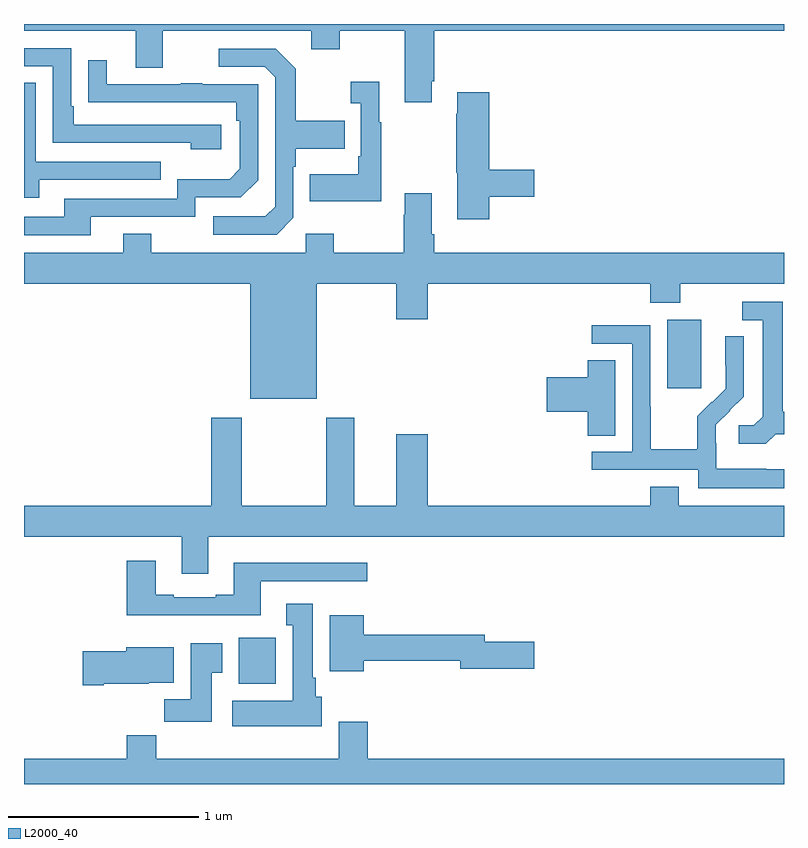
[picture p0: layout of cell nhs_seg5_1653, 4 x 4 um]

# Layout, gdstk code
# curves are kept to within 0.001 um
import gdstk
lib = gdstk.Library(unit=1e-6, precision=1e-09)
def R(c, l, rs):  # rectangles x0, y0, x1, y1
    for r in rs: c.add(gdstk.rectangle(r[:2], r[2:], *l))
def P(c, l, *ps):  # polygons
    for p in ps: c.add(gdstk.Polygon(p, *l))
L2000_40 = (2000, 40)

nhs_seg5_1653 = lib.new_cell('nhs_seg5_1653')
R(nhs_seg5_1653, L2000_40, [(212.129,849.326,212.326,849.568), (214.385,850.881,214.564,851.242)])
P(nhs_seg5_1653, L2000_40, [(213.145,852.499),(213.158,852.499),(213.158,852.764),(215,852.764),(215,852.799),(211,852.799),(211,852.764),(211.589,852.764),(211.589,852.57),(211.729,852.57),(211.729,852.764),(212.513,852.764),(212.513,852.665),(212.661,852.665),(212.661,852.764),(213.005,852.764),(213.005,852.387),(213.145,852.387)],
  [(212.038,852.27),(211.261,852.27),(211.261,852.367),(211.248,852.367),(211.248,852.672),(211,852.672),(211,852.576),(211.152,852.576),(211.152,852.174),(211.877,852.174),(211.877,852.14),(212.038,852.14)],
  [(212.418,851.778),(212.418,852.047),(212.431,852.047),(212.431,852.143),(212.687,852.143),(212.687,852.291),(212.431,852.291),(212.431,852.563),(212.325,852.669),(212.025,852.669),(212.025,852.573),(212.268,852.573),(212.322,852.519),(212.322,851.838),(212.271,851.787),(211.995,851.787),(211.995,851.691),(212.331,851.691)],
  [(211.351,851.784),(211.902,851.784),(211.902,851.886),(212.142,851.886),(212.232,851.976),(212.232,852.483),(211.937,852.483),(211.937,852.488),(211.825,852.488),(211.825,852.483),(211.435,852.483),(211.435,852.607),(211.339,852.607),(211.339,852.388),(212.116,852.387),(212.116,852.29),(212.136,852.29),(212.136,852.036),(212.083,851.983),(211.806,851.983),(211.806,851.88),(211.211,851.88),(211.211,851.784),(211,851.784),(211,851.688),(211.351,851.688)],
  [(212.881,852.283),(212.869,852.283),(212.869,852.496),(212.721,852.496),(212.721,852.383),(212.772,852.383),(212.772,852.103),(212.76,852.103),(212.76,852.007),(212.503,852.007),(212.503,851.867),(212.881,851.867)],
  [(211.081,851.979),(211.721,851.979),(211.721,852.075),(211.062,852.075),(211.062,852.491),(211,852.491),(211,851.885),(211.081,851.885)],
  [(213.449,851.89),(213.685,851.89),(213.685,852.032),(213.449,852.032),(213.449,852.439),(213.281,852.439),(213.281,852.326),(213.274,852.326),(213.274,852.015),(213.281,852.015),(213.281,851.772),(213.449,851.772)],
  [(212.542,851.432),(212.96,851.432),(212.96,851.244),(213.124,851.244),(213.124,851.432),(214.295,851.432),(214.295,851.333),(214.455,851.333),(214.455,851.432),(215,851.432),(215,851.596),(213.158,851.596),(213.158,851.692),(213.145,851.692),(213.145,851.908),(213.005,851.908),(213.005,851.795),(212.998,851.795),(212.998,851.596),(212.631,851.596),(212.631,851.695),(212.484,851.695),(212.484,851.596),(211.671,851.596),(211.671,851.695),(211.523,851.695),(211.523,851.596),(211,851.596),(211,851.432),(212.192,851.432),(212.192,850.826),(212.542,850.826)],
  [(214.956,850.641),(215,850.641),(215,850.757),(214.993,850.757),(214.993,851.337),(214.779,851.337),(214.779,851.241),(214.889,851.241),(214.889,850.733),(214.842,850.686),(214.761,850.686),(214.761,850.589),(214.904,850.589)],
  [(215,850.455),(214.907,850.455),(214.907,850.459),(214.644,850.459),(214.644,850.593),(214.642,850.593),(214.642,850.69),(214.788,850.838),(214.788,851.156),(214.692,851.156),(214.692,851.002),(214.694,851.002),(214.694,850.88),(214.623,850.809),(214.62,850.812),(214.543,850.735),(214.543,850.561),(214.299,850.561),(214.299,850.784),(214.296,850.784),(214.296,851.214),(213.987,851.214),(213.987,851.115),(214.2,851.115),(214.2,850.548),(213.987,850.548),(213.987,850.452),(214.548,850.452),(214.548,850.355),(215,850.355)],
  [(214.111,851.03),(213.968,851.03),(213.968,850.94),(213.75,850.94),(213.75,850.757),(213.968,850.757),(213.968,850.633),(214.111,850.633)],
  [(215,850.264),(214.447,850.264),(214.447,850.363),(214.295,850.363),(214.295,850.264),(213.124,850.264),(213.124,850.639),(212.96,850.639),(212.96,850.264),(212.737,850.264),(212.737,850.726),(212.59,850.726),(212.59,850.264),(212.145,850.264),(212.145,850.726),(211.985,850.726),(211.985,850.264),(211,850.264),(211,850.1),(211.829,850.1),(211.829,849.906),(211.969,849.906),(211.969,850.1),(215,850.1)],
  [(212.245,849.867),(212.806,849.867),(212.806,849.964),(212.105,849.964),(212.105,849.796),(212.009,849.796),(212.009,849.783),(211.789,849.783),(211.789,849.796),(211.693,849.796),(211.693,849.973),(211.541,849.973),(211.541,849.686),(212.245,849.686)],
  [(212.566,849.258),(212.536,849.258),(212.536,849.358),(212.521,849.358),(212.521,849.748),(212.381,849.748),(212.381,849.635),(212.414,849.635),(212.414,849.238),(212.097,849.238),(212.097,849.104),(212.566,849.104)],
  [(212.788,849.448),(213.296,849.448),(213.296,849.406),(213.685,849.406),(213.685,849.548),(213.424,849.548),(213.424,849.584),(212.788,849.584),(212.788,849.688),(212.609,849.688),(212.609,849.392),(212.788,849.392)],
  [(211.987,849.385),(212.044,849.385),(212.044,849.541),(211.877,849.541),(211.877,849.244),(211.738,849.244),(211.738,849.126),(211.987,849.126)],
  [(211.42,849.326),(211.656,849.326),(211.656,849.332),(211.789,849.332),(211.789,849.52),(211.538,849.52),(211.538,849.497),(211.308,849.497),(211.308,849.319),(211.42,849.319)],
  [(215,848.932),(212.81,848.932),(212.81,849.127),(212.657,849.127),(212.657,848.932),(211.697,848.932),(211.697,849.056),(211.541,849.056),(211.541,848.932),(211,848.932),(211,848.799),(215,848.799)])

lib.write_gds('nhs_seg5_1653.gds')
